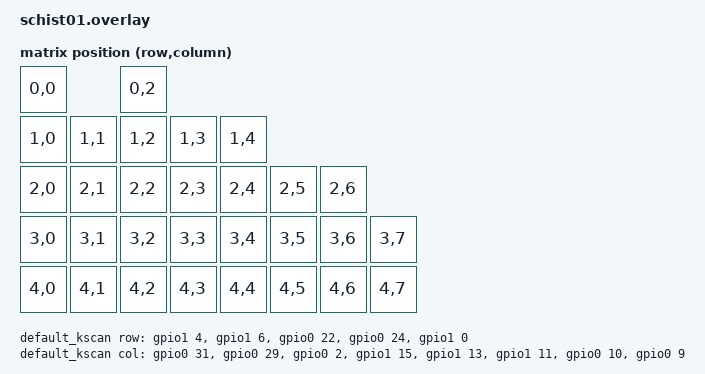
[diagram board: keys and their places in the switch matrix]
/*
 * Copyright (c) 2020 Pete Johanson
 *
 * SPDX-License-Identifier: MIT
 */

#include <dt-bindings/zmk/matrix_transform.h>

#include "schist01-layouts.dtsi"



/ {

	chosen {
        zmk,kscan = &default_kscan;
        zmk,physical-layout = &physical_layout0;
    };

    default_kscan: kscan {
        compatible = "zmk,kscan-gpio-matrix";
        label = "default_kscan";
        diode-direction = "row2col";
		wakeup-source;

        row-gpios = <&gpio1 4 GPIO_ACTIVE_HIGH>,
                    <&gpio1 6 GPIO_ACTIVE_HIGH>,
                    <&gpio0 22 GPIO_ACTIVE_HIGH>,
                    <&gpio0 24 GPIO_ACTIVE_HIGH>,
                    <&gpio1 0 GPIO_ACTIVE_HIGH>;

        col-gpios = <&gpio0 31 (GPIO_ACTIVE_HIGH  | GPIO_PULL_DOWN)>,
                    <&gpio0 29 (GPIO_ACTIVE_HIGH | GPIO_PULL_DOWN)>,
                    <&gpio0 2 (GPIO_ACTIVE_HIGH | GPIO_PULL_DOWN)>,
                    <&gpio1 15 (GPIO_ACTIVE_HIGH | GPIO_PULL_DOWN)>,
                    <&gpio1 13 (GPIO_ACTIVE_HIGH | GPIO_PULL_DOWN)>,
                    <&gpio1 11 (GPIO_ACTIVE_HIGH | GPIO_PULL_DOWN)>,
                    <&gpio0 10 (GPIO_ACTIVE_HIGH | GPIO_PULL_DOWN)>,
                    <&gpio0 9 (GPIO_ACTIVE_HIGH | GPIO_PULL_DOWN)>;

    };

    default_transform: matrix_transform {
        compatible = "zmk,matrix-transform";
        rows = <5>;
        columns = <8>;

        map = <
            RC(0,0)         RC(0,2) 
            RC(1,0) RC(1,1) RC(1,2) RC(1,3) RC(1,4)
            RC(2,0) RC(2,1) RC(2,2) RC(2,3) RC(2,4) RC(2,5) RC(2,6)
            RC(3,0) RC(3,1) RC(3,2) RC(3,3) RC(3,4) RC(3,5) RC(3,6) RC(3,7)
            RC(4,0) RC(4,1) RC(4,2) RC(4,3) RC(4,4) RC(4,5) RC(4,6) RC(4,7)
        >;
    };
};
